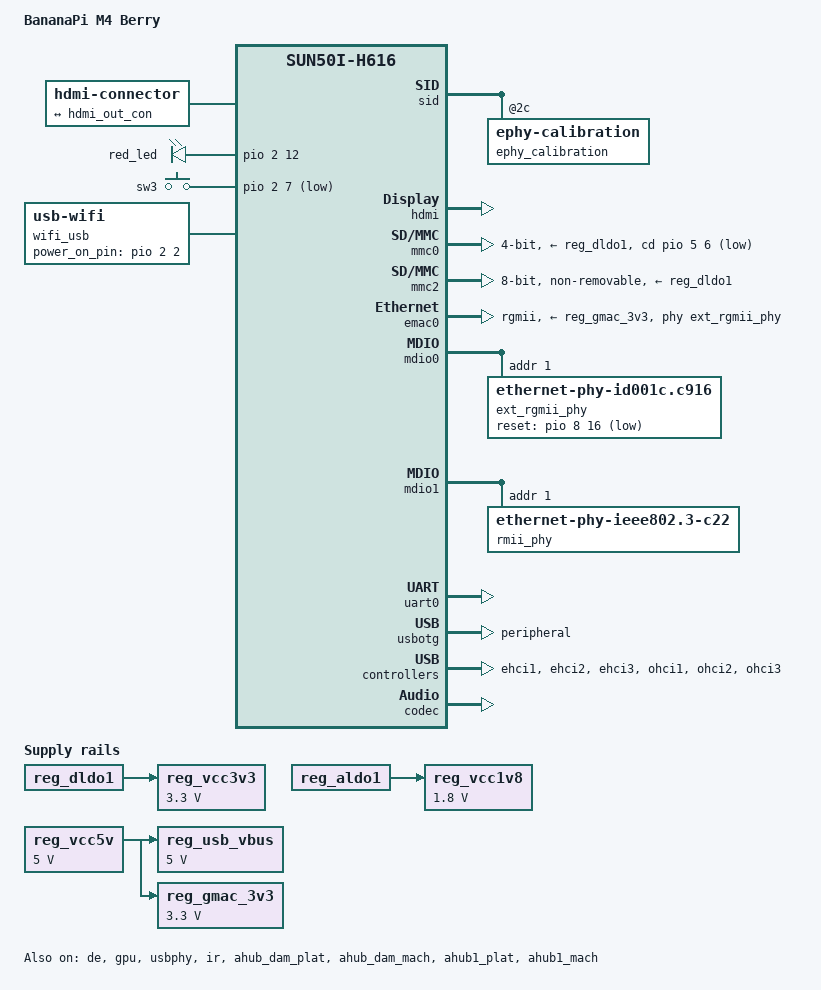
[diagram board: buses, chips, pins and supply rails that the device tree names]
// SPDX-License-Identifier: (GPL-2.0+ or MIT)
/*
 * Copyright (C) 2020 Arm Ltd.
 */

/dts-v1/;

#include "sun50i-h616.dtsi"
#include "sun50i-h616-cpu-opp.dtsi"
#include "axp313a.dtsi"

#include <dt-bindings/gpio/gpio.h>
#include <dt-bindings/input/linux-event-codes.h>
#include <dt-bindings/interrupt-controller/arm-gic.h>
#include <dt-bindings/leds/common.h>

/ {
	model = "BananaPi M4 Berry";
	compatible = "BiPai,bananapi-m4berry", "allwinner,sun50i-h616";

	aliases {
		ethernet0 = &emac0;
		ethernet1 = &emac1;
		serial0 = &uart0;
		serial5 = &uart5;
	};

	chosen {
		stdout-path = "serial0:115200n8";
	};

	connector {
		compatible = "hdmi-connector";
		type = "d";

		port {
			hdmi_con_in: endpoint {
				remote-endpoint = <&hdmi_out_con>;
			};
		};
	};

	leds: leds {
		compatible = "gpio-leds";

		led-0 {
			label = "red_led";
			gpios = <&pio 2 12 GPIO_ACTIVE_HIGH>; /* PC12 */
			linux,default-trigger = "heartbeat";
		};
	};

	gpio-keys {
		compatible = "gpio-keys";

		key-sw3 {
			label = "sw3";
			linux,code = <BTN_0>;
			gpios = <&pio 2 7 GPIO_ACTIVE_LOW>;	/* PC7 */
		};
	};

	reg_vcc5v: vcc5v {
		/* board wide 5V supply directly from the USB-C socket */
		compatible = "regulator-fixed";
		regulator-name = "vcc-5v";
		regulator-min-microvolt = <5000000>;
		regulator-max-microvolt = <5000000>;
		regulator-always-on;
	};

	reg_usb_vbus: regulator-usb-vbus {
		/* separate discrete regulator for the USB ports */
		compatible = "regulator-fixed";
		regulator-name = "usb-vbus";
		regulator-min-microvolt = <5000000>;
		regulator-max-microvolt = <5000000>;
		vin-supply = <&reg_vcc5v>;
	};

	reg_vcc3v3: vcc3v3 {
		/* SY8089 DC/DC converter */
		compatible = "regulator-fixed";
		regulator-name = "vcc-3v3";
		regulator-min-microvolt = <3300000>;
		regulator-max-microvolt = <3300000>;
		vin-supply = <&reg_dldo1>;
		regulator-always-on;
	};

	reg_vcc1v8: vcc1v8 {
		/* Always on 1.8V/300mA regulator for WiFi and BT IO */
		compatible = "regulator-fixed";
		regulator-name = "vcc-1v8";
		regulator-min-microvolt = <1800000>;
		regulator-max-microvolt = <1800000>;
		regulator-always-on;
		vin-supply = <&reg_aldo1>;
	};

	reg_gmac_3v3: gmac-3v3 {
		compatible = "regulator-fixed";
		regulator-name = "gmac-3v3";
		regulator-min-microvolt = <3300000>;
		regulator-max-microvolt = <3300000>;
		regulator-always-on;
		vin-supply = <&reg_vcc5v>;
	};

	wifi_usb {
		compatible = "usb-wifi";
		status = "okay";
		power_on_pin = <&pio 2 2 GPIO_ACTIVE_HIGH>; /* PC2 */
	};

};

&cpu0 {
	cpu-supply = <&reg_dcdc2>;
	status = "okay";
};

&sid {
	ephy_calibration: ephy-calibration@2c {
		reg = <0x2c 0x2>;
	};
};

&de {
	status = "okay";
};

&hdmi {
	hvcc-supply = <&reg_aldo1>;
	status = "okay";
};

&hdmi_out {
	hdmi_out_con: endpoint {
		remote-endpoint = <&hdmi_con_in>;
	};
};

&gpu {
	mali-supply = <&reg_dcdc1>;
	status = "okay";
};

&mmc0 {
	vmmc-supply = <&reg_dldo1>;
	cd-gpios = <&pio 5 6 GPIO_ACTIVE_LOW>;	/* PF6 */
	bus-width = <4>;
	max-frequency = <50000000>;
	status = "okay";
};

&mmc2 {
	pinctrl-names = "default";
	pinctrl-0 = <&mmc2_pins>;
	vmmc-supply = <&reg_dldo1>;
	bus-width = <8>;
	max-frequency = <150000000>;
	non-removable;
	cap-mmc-hw-reset;
	status = "okay";
};

&pio {
	vcc-pc-supply = <&reg_aldo1>;
	vcc-pf-supply = <&reg_dldo1>;
	vcc-pg-supply = <&reg_dldo1>;
	vcc-ph-supply = <&reg_dldo1>;
	vcc-pi-supply = <&reg_dldo1>;
};

&emac0 {
	compatible = "allwinner,sun50i-h616-emac";
	pinctrl-names = "default";
	pinctrl-0 = <&ext_rgmii_pins>;
	phy-mode = "rgmii";
	phy-handle = <&ext_rgmii_phy>;
	phy-supply = <&reg_gmac_3v3>;
	phy-io-supply = <&reg_dldo1>;
	allwinner,rx-delay-ps = <3100>;
	allwinner,tx-delay-ps = <700>;
	status = "okay";
};

&mdio0 {
	ext_rgmii_phy: ethernet-phy@1 {
		/* rtl8211F compatible string for mdio and phy */
		compatible = "ethernet-phy-id001c.c916";
		reg = <1>;
		reset-assert-us = <20000>;
		reset-deassert-us = <100000>;
		reset-gpios = <&pio 8 16 GPIO_ACTIVE_LOW>;      /* PI16 */
	};
};

&emac1 {
	compatible = "allwinner,sunxi-gmac";
	status = "disabled";
};

&mdio1 {
	rmii_phy: ethernet-phy@1 {
		compatible = "ethernet-phy-ieee802.3-c22";
		reg = <1>;
	};
};

&uart0 {
	pinctrl-names = "default";
	pinctrl-0 = <&uart0_ph_pins>;
	status = "okay";
};

&usbotg {
	/*
	 * PHY0 pins are connected to a USB-C socket, but a role switch
	 * is not implemented: both CC pins are pulled to GND.
	 * The VBUS pins power the device, so a fixed peripheral mode
	 * is the best choice.
	 * The board can be powered via GPIOs, in this case port0 *can*
	 * act as a host (with a cable/adapter ignoring CC), as VBUS is
	 * then provided by the GPIOs. Any user of this setup would
	 * need to adjust the DT accordingly: dr_mode set to "host",
	 * enabling OHCI0 and EHCI0.
	 */
	dr_mode = "peripheral";
	status = "okay";
};

&usbphy {
	usb1_vbus-supply = <&reg_usb_vbus>;
	status = "okay";
};

&ehci0 {
	status = "disabled";
};

&ehci1 {
	status = "okay";
};

&ehci2 {
	status = "okay";
};

&ehci3 {
	status = "okay";
};

&ohci0 {
	status = "disabled";
};

&ohci1 {
	status = "okay";
};

&ohci2 {
	status = "okay";
};

&ohci3 {
	status = "okay";
};

&ir {
	pinctrl-names = "default";
	pinctrl-0 = <&ir_rx_pin>;
	status = "okay";
};

&uart5 {
	pinctrl-names = "default";
	pinctrl-0 = <&uart5_pins>;
	status = "disabled";
};

&codec {
	allwinner,audio-routing =
	        "Line Out", "LINEOUT";
	status = "okay";
};

&ahub_dam_plat {
	status = "okay";
};

&ahub_dam_mach {
	status = "okay";
};

&ahub1_plat {
	status = "okay";
};

&ahub1_mach {
	status = "okay";
};
